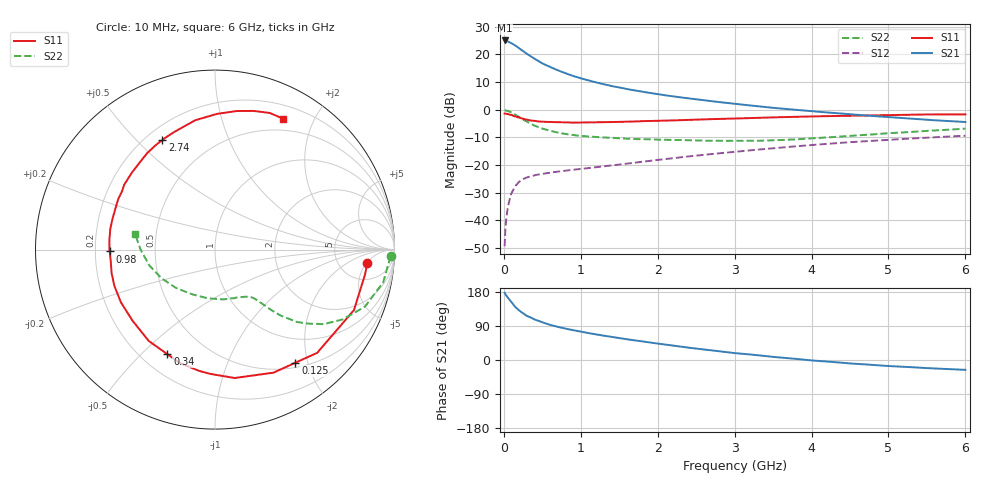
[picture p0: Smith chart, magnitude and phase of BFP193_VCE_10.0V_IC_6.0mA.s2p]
! Infineon Technologies  Discrete & RF Semiconductors
! BFP193
! VCE = 10.0V,  IC =  6.0 mA
! Common Emitter S-Parameters:  Jan 2016
# GHz  S  MA  R  50
!  f  S11  S21  S12  S22
! GHz  MAG  ANG  MAG  ANG  MAG  ANG  MAG  ANG
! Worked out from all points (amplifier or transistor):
!   210 points, 10 MHz to 6 GHz, reference 50 ohm
!   highest |S21| = 25.1 dB at 10 MHz (marker M1)
!   |S21| within 3 dB of that: start of sweep to 209.6 MHz
!   unconditionally stable (mu >= 1): 1.269 GHz to 3.726 GHz
!   at 185 MHz: K = 0.23, MSG = 24.5 dB, |S12| = -26.5 dB
!   at 1.52 GHz: K = 1.07, MAG = 12.2 dB, |S12| = -19.8 dB
!   at 6 GHz: K = 0.89, MSG = 2.5 dB, |S12| = -9.4 dB
!   S11 on the Smith chart (normalised r, x): 10 MHz: 10, -5; 125 MHz: 0.57, -1.80; 340 MHz: 0.30, -0.60; 980 MHz: 0.26, -0.01; 2.74 GHz: 0.26, +0.60; 6 GHz: 0.35, +1.59
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0.01  0.8526 -4.9  17.89 177.7  0.0034 81.2  0.9793 -2.2
0.02  0.8472 -9.5  17.58 173.4  0.0069 81.1  0.9704 -4.4
0.05  0.8444 -23.5  17.23 165.0  0.0164 77.6  0.9549 -11.0
0.1  0.8093 -45.3  16.01 152.0  0.031 67.7  0.8943 -20.8
0.125  0.7731 -54.6  15.14 146.1  0.0362 62.4  0.8511 -24.5
0.15  0.7591 -64.6  14.46 139.6  0.0417 58.4  0.8118 -28.6
0.2  0.7237 -81.3  12.97 130.6  0.0499 52.2  0.7352 -34.4
0.26  0.6814 -97.5  11.22 121.4  0.0564 46.5  0.6519 -39.1
0.3  0.6617 -107.3  10.25 116.3  0.0595 43.7  0.6063 -41.6
0.34  0.6403 -114.5  9.456 113.0  0.0618 41.8  0.5693 -42.9
0.42  0.6218 -128.5  8.033 105.5  0.0662 38.8  0.5026 -45.6
0.5  0.6068 -139.1  6.88 99.2  0.0692 36.9  0.4553 -47.2
0.6  0.601 -150.7  5.909 92.8  0.0729 36.1  0.4155 -48.4
0.98  0.5868 -179.0  3.771 75.6  0.0842 36.8  0.3385 -52.2
1.02  0.5883 178.6  3.633 74.1  0.0853 37.0  0.3345 -52.7
1.4  0.5978 160.0  2.679 61.0  0.0979 39.4  0.3101 -58.3
2.02  0.6314 137.0  1.888 42.8  0.1244 41.7  0.2868 -71.2
2.74  0.6772 115.7  1.403 24.5  0.1596 40.8  0.2741 -91.3
3.1  0.6989 106.9  1.236 16.5  0.1789 39.1  0.2728 -103.4
4.1  0.7602 87.5  0.915 -2.5  0.2353 31.9  0.3089 -138.8
5.1  0.805 73.1  0.719 -16.9  0.2908 22.1  0.3818 -169.2
6  0.8222 62.6  0.599 -26.0  0.3385 12.2  0.4551 168.7
